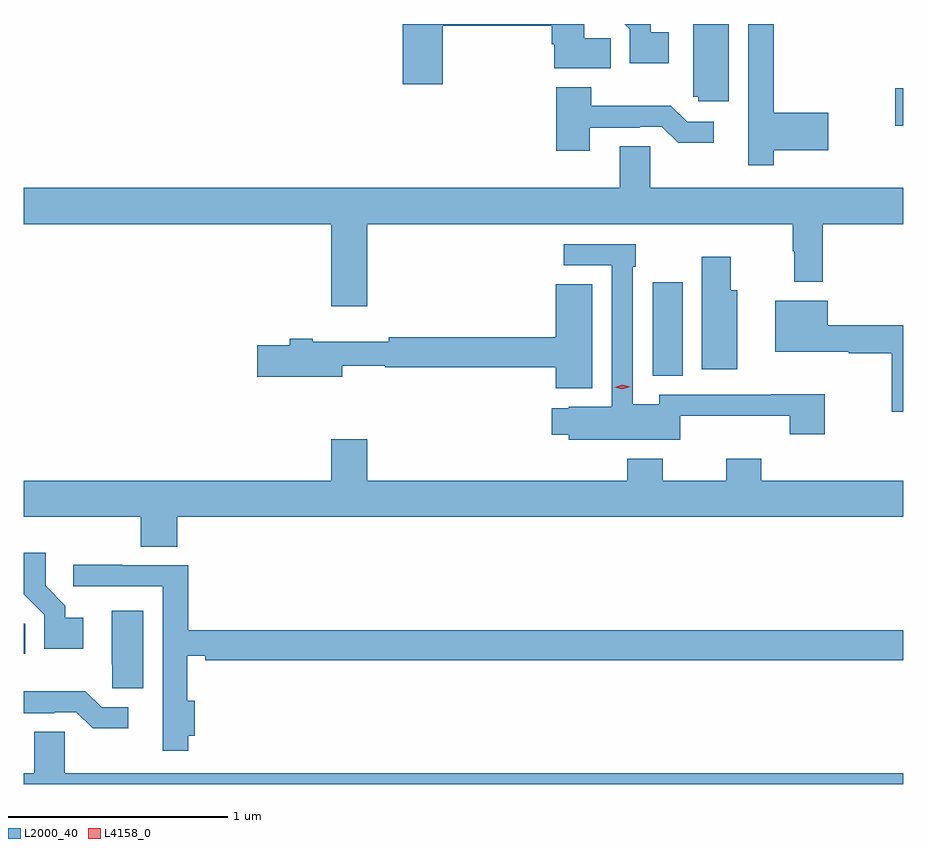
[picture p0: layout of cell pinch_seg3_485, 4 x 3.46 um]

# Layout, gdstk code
import gdstk
lib = gdstk.Library(unit=1e-6, precision=1e-09)
def R(c, l, rs):  # rectangles x0, y0, x1, y1
    for r in rs: c.add(gdstk.rectangle(r[:2], r[2:], *l))
def P(c, l, *ps):  # polygons
    for p in ps: c.add(gdstk.Polygon(p, *l))
L2000_40 = (2000, 40)
L4158_0 = (4158, 0)

pinch_seg3_485 = lib.new_cell('pinch_seg3_485')
R(pinch_seg3_485, L2000_40, [(990.781,666.992,990.788,667.13), (993.641,668.257,993.778,668.683), (994.746,669.395,994.781,669.566)])
P(pinch_seg3_485, L2000_40, [(993.988,669.858),(993.827,669.858),(993.827,669.528),(993.849,669.528),(993.849,669.507),(993.988,669.507)],
  [(992.687,669.85),(993.182,669.85),(993.182,669.767),(993.194,669.767),(993.194,669.656),(993.452,669.656),(993.452,669.794),(993.331,669.794),(993.331,669.858),(992.504,669.858),(992.504,669.585),(992.687,669.585)],
  [(994.193,669.284),(994.441,669.284),(994.441,669.455),(994.193,669.455),(994.193,669.858),(994.077,669.858),(994.077,669.438),(994.076,669.438),(994.076,669.216),(994.193,669.216)],
  [(993.715,669.82),(993.634,669.82),(993.634,669.858),(993.514,669.858),(993.537,669.835),(993.537,669.68),(993.715,669.68)],
  [(993.355,669.387),(993.584,669.387),(993.584,669.39),(993.684,669.39),(993.757,669.317),(993.919,669.317),(993.919,669.414),(993.798,669.414),(993.725,669.487),(993.363,669.487),(993.363,669.571),(993.203,669.571),(993.203,669.282),(993.355,669.282)],
  [(992.344,668.948),(994.279,668.948),(994.279,668.825),(994.287,668.825),(994.287,668.685),(994.415,668.685),(994.415,668.948),(994.781,668.948),(994.781,669.112),(993.63,669.112),(993.63,669.302),(993.491,669.302),(993.491,669.112),(990.781,669.112),(990.781,668.948),(992.18,668.948),(992.18,668.574),(992.344,668.574)],
  [(993.768,668.075),(994.265,668.075),(994.265,667.992),(994.425,667.992),(994.425,668.174),(994.181,668.174),(994.181,668.172),(993.672,668.172),(993.672,668.128),(993.552,668.128),(993.552,668.753),(993.565,668.753),(993.565,668.856),(993.237,668.856),(993.237,668.76),(993.456,668.76),(993.456,668.116),(993.261,668.116),(993.261,668.11),(993.182,668.11),(993.182,667.988),(993.261,667.988),(993.261,667.967),(993.768,667.967)],
  [(994.027,668.647),(993.996,668.647),(993.996,668.8),(993.866,668.8),(993.866,668.286),(994.027,668.286)],
  [(993.367,668.675),(993.2,668.675),(993.2,668.432),(992.44,668.432),(992.44,668.413),(992.095,668.413),(992.095,668.426),(991.991,668.426),(991.991,668.396),(991.842,668.396),(991.842,668.254),(992.23,668.254),(992.23,668.304),(992.426,668.304),(992.426,668.296),(993.2,668.296),(993.2,668.201),(993.367,668.201)],
  [(994.781,668.488),(994.438,668.488),(994.438,668.599),(994.199,668.599),(994.199,668.366),(994.534,668.366),(994.534,668.359),(994.729,668.359),(994.729,668.094),(994.781,668.094)],
  [(991.478,667.616),(994.781,667.616),(994.781,667.78),(994.136,667.78),(994.136,667.879),(993.976,667.879),(993.976,667.78),(993.687,667.78),(993.687,667.879),(993.527,667.879),(993.527,667.78),(992.344,667.78),(992.344,667.969),(992.18,667.969),(992.18,667.78),(990.781,667.78),(990.781,667.616),(991.313,667.616),(991.313,667.48),(991.478,667.48)],
  [(991.051,667.156),(990.97,667.156),(990.97,667.211),(990.88,667.301),(990.88,667.453),(990.781,667.453),(990.781,667.263),(990.873,667.171),(990.873,667.016),(991.051,667.016)],
  [(991.529,666.62),(991.559,666.62),(991.559,666.778),(991.525,666.778),(991.525,666.983),(991.606,666.983),(991.606,666.964),(994.781,666.964),(994.781,667.1),(991.529,667.1),(991.529,667.395),(991.229,667.395),(991.229,667.398),(991.005,667.398),(991.005,667.299),(991.413,667.299),(991.413,666.774),(991.412,666.774),(991.412,666.552),(991.529,666.552)],
  [(991.324,667.189),(991.181,667.189),(991.181,666.946),(991.182,666.946),(991.182,666.835),(991.324,666.835)],
  [(991.255,666.75),(991.134,666.75),(991.061,666.823),(990.781,666.823),(990.781,666.723),(990.92,666.723),(990.92,666.726),(991.02,666.726),(991.093,666.653),(991.255,666.653)],
  [(994.781,666.448),(990.966,666.448),(990.966,666.638),(990.827,666.638),(990.827,666.448),(990.781,666.448),(990.781,666.4),(994.781,666.4)])
P(pinch_seg3_485, L4158_0, [(993.504,668.197),(993.469,668.206),(993.469,668.206),(993.469,668.206),(993.504,668.216),(993.539,668.207),(993.539,668.207),(993.539,668.207)])

lib.write_gds('pinch_seg3_485.gds')
